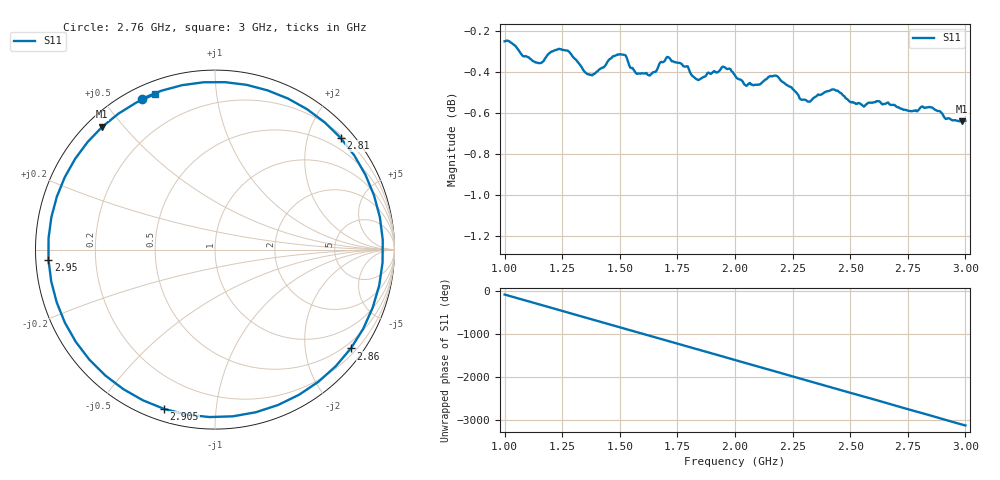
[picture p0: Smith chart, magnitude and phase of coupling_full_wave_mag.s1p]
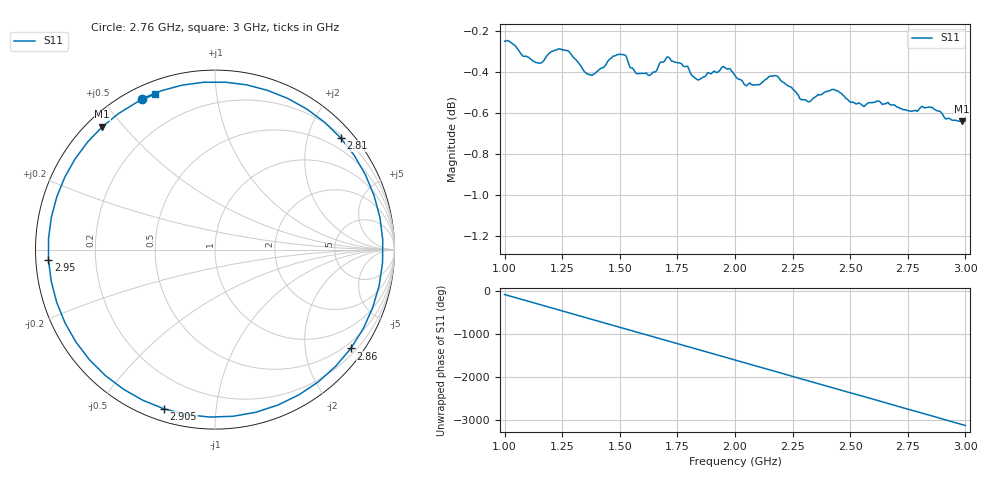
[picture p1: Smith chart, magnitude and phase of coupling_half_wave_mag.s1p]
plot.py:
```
import skrf as rf
import matplotlib.pyplot as plt
import numpy as np

path1 = "coupling_full_wave_mag.s1p"
path2 = "coupling_half_wave_mag.s1p"

paths = [path1, path2]

def plot_coupling():
    for path in paths:
        ntwk = rf.Network(path)  
        freq = ntwk.f            
        mag = ntwk.s_mag[:,0,0] 
        phase = ntwk.s_deg[:,0,0] 
        f_target = 2.4e9
        idx = np.argmin(np.abs(freq - f_target))
        plt.plot(freq, mag, label=f'Magnitude {path}')
        #plt.plot(freq, phase, label=f'Phase {path}')
        plt.show()

    plt.xlabel("Frequency (Hz)")
    plt.ylabel("Magnitude(db)")
    plt.title("S11 magnitudeCoupling Magnitude")
    plt.legend()
    #plt.savefig("Coupling_Magnitude_Phase.png", dpi=300, bbox_inches='tight')
    


plot_coupling()
```
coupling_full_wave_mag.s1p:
!  02.03.2026  11:19:08
! Ref Plane: 0.000 mm
# MHZ S MA R  50
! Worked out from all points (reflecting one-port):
!   401 points, 1 GHz to 3 GHz, reference 50 ohm
!   lowest |S11| = -0.6 dB at 2.985 GHz (marker M1), VSWR 27.15, Z = 2.2 + j21.9 ohm
!   phase of S11 starts at -84 deg and turns -3045 deg over the sweep
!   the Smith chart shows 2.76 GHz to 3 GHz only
!   S11 on the Smith chart (normalised r, x): 2.76 GHz: 0.05, +0.62; 2.81 GHz: 0.26, +2.61; 2.86 GHz: 0.34, -3.04; 2.905 GHz: 0.05, -0.73; 2.95 GHz: 0.04, -0.03; 3 GHz: 0.05, +0.69
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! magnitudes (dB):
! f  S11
! 1 GHz  -0.3
! 1.27 GHz  -0.3
! 1.37 GHz  -0.4
! 1.495 GHz  -0.3
! 1.67 GHz  -0.4
! 2.175 GHz  -0.4
! 2.335 GHz  -0.5
! 2.76 GHz  -0.6
! 2.81 GHz  -0.6
! 2.86 GHz  -0.6
! 2.905 GHz  -0.6
! 2.95 GHz  -0.6
! 2.985 GHz  -0.6
! 3 GHz  -0.6
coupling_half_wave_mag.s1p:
!  02.03.2026  11:20:33
! Ref Plane: 0.000 mm
# MHZ S MA R  50
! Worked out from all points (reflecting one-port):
!   401 points, 1 GHz to 3 GHz, reference 50 ohm
!   lowest |S11| = -0.6 dB at 2.985 GHz (marker M1), VSWR 27.15, Z = 2.2 + j21.9 ohm
!   phase of S11 starts at -84 deg and turns -3045 deg over the sweep
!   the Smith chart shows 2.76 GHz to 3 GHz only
!   S11 on the Smith chart (normalised r, x): 2.76 GHz: 0.05, +0.62; 2.81 GHz: 0.26, +2.61; 2.86 GHz: 0.34, -3.04; 2.905 GHz: 0.05, -0.73; 2.95 GHz: 0.04, -0.03; 3 GHz: 0.05, +0.69
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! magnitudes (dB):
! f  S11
! 1 GHz  -0.3
! 1.27 GHz  -0.3
! 1.37 GHz  -0.4
! 1.495 GHz  -0.3
! 1.67 GHz  -0.4
! 2.175 GHz  -0.4
! 2.335 GHz  -0.5
! 2.76 GHz  -0.6
! 2.81 GHz  -0.6
! 2.86 GHz  -0.6
! 2.905 GHz  -0.6
! 2.95 GHz  -0.6
! 2.985 GHz  -0.6
! 3 GHz  -0.6
